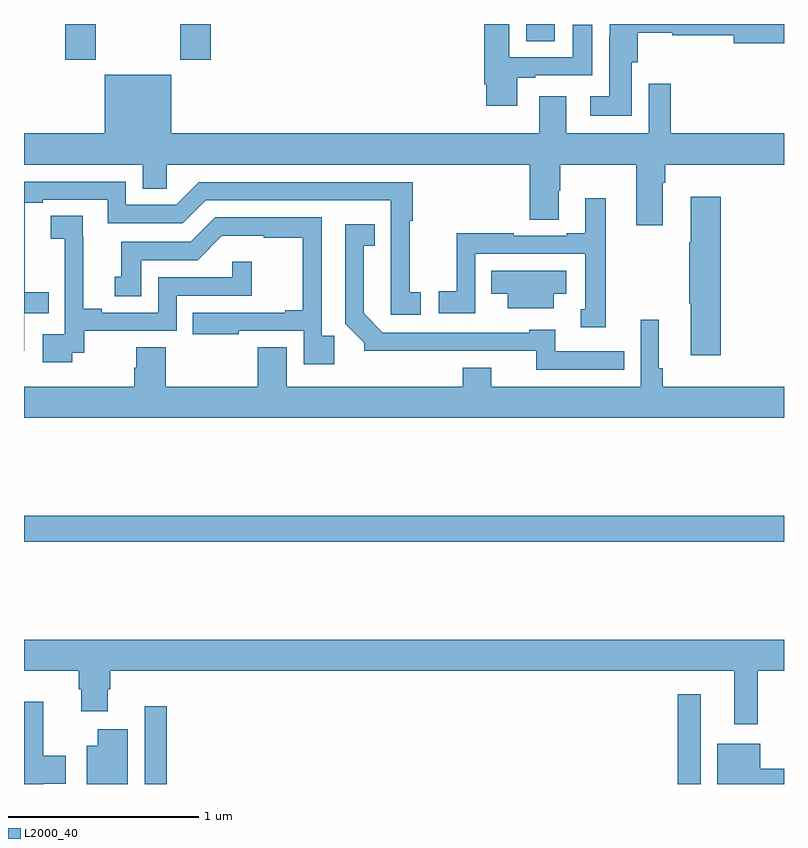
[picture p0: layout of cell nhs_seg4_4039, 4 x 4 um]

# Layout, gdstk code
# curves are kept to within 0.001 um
import gdstk
lib = gdstk.Library(unit=1e-6, precision=1e-09)
def R(c, l, rs):  # rectangles x0, y0, x1, y1
    for r in rs: c.add(gdstk.rectangle(r[:2], r[2:], *l))
def P(c, l, *ps):  # polygons
    for p in ps: c.add(gdstk.Polygon(p, *l))
L2000_40 = (2000, 40)

nhs_seg4_4039 = lib.new_cell('nhs_seg4_4039')
R(nhs_seg4_4039, L2000_40, [(325.635,786.9,325.751,787.309), (328.44,786.9,328.561,787.372), (325,788.176,329,788.312), (325.217,790.713,325.377,790.9), (325.822,790.713,325.982,790.9), (327.644,790.81,327.793,790.9)])
P(nhs_seg4_4039, L2000_40, [(328.198,790.698),(328.229,790.698),(328.229,790.855),(328.412,790.855),(328.412,790.84),(328.736,790.84),(328.736,790.798),(329,790.798),(329,790.9),(328.083,790.9),(328.083,790.838),(328.079,790.838),(328.079,790.519),(327.981,790.519),(327.981,790.418),(328.198,790.418)],
  [(327.595,790.617),(327.691,790.617),(327.691,790.629),(327.991,790.629),(327.991,790.897),(327.887,790.897),(327.887,790.725),(327.553,790.725),(327.553,790.9),(327.422,790.9),(327.422,790.582),(327.434,790.582),(327.434,790.47),(327.595,790.47)],
  [(328.363,790.064),(328.376,790.064),(328.376,790.16),(329,790.16),(329,790.324),(328.403,790.324),(328.403,790.585),(328.287,790.585),(328.287,790.324),(327.853,790.324),(327.853,790.519),(327.713,790.519),(327.713,790.324),(325.774,790.324),(325.774,790.633),(325.424,790.633),(325.424,790.324),(325,790.324),(325,790.16),(325.625,790.16),(325.625,790.033),(325.752,790.033),(325.752,790.16),(327.662,790.16),(327.662,789.871),(327.814,789.871),(327.814,790.022),(327.822,790.022),(327.822,790.16),(328.223,790.16),(328.223,789.84),(328.363,789.84)],
  [(325.002,789.378),(325.13,789.378),(325.13,789.487),(325.003,789.487),(325.003,789.96),(325.099,789.96),(325.099,789.975),(325.44,789.975),(325.44,789.852),(325.836,789.852),(325.956,789.972),(326.931,789.972),(326.93,789.369),(327.088,789.369),(327.088,789.489),(327.03,789.489),(327.03,789.865),(327.047,789.865),(327.047,790.068),(325.92,790.068),(325.8,789.948),(325.536,789.948),(325.536,790.071),(325,790.071),(325,789.18),(325.002,789.18)],
  [(328.667,789.991),(328.508,789.991),(328.508,789.752),(328.501,789.752),(328.501,789.43),(328.508,789.43),(328.508,789.156),(328.667,789.156)],
  [(328.063,789.982),(327.953,789.982),(327.953,789.799),(327.857,789.799),(327.857,789.786),(327.578,789.786),(327.578,789.799),(327.277,789.799),(327.277,789.494),(327.183,789.494),(327.183,789.378),(327.375,789.378),(327.375,789.69),(327.954,789.69),(327.954,789.399),(327.929,789.399),(327.929,789.305),(328.063,789.305)],
  [(325.254,789.171),(325.316,789.171),(325.316,789.285),(325.803,789.285),(325.803,789.471),(326.198,789.471),(326.198,789.649),(326.097,789.649),(326.097,789.567),(325.707,789.567),(325.707,789.381),(325.408,789.381),(325.408,789.401),(325.312,789.401),(325.312,789.779),(325.31,789.779),(325.31,789.89),(325.14,789.89),(325.14,789.769),(325.214,789.769),(325.214,789.571),(325.215,789.571),(325.215,789.267),(325.098,789.267),(325.098,789.12),(325.254,789.12)],
  [(326.633,789.259),(326.568,789.259),(326.568,789.882),(326.007,789.882),(325.878,789.753),(325.511,789.753),(325.511,789.57),(325.478,789.57),(325.478,789.466),(325.618,789.466),(325.618,789.657),(325.914,789.657),(326.042,789.785),(326.261,789.785),(326.261,789.774),(326.467,789.774),(326.467,789.394),(326.375,789.394),(326.375,789.381),(325.888,789.381),(325.888,789.266),(326.131,789.266),(326.131,789.285),(326.472,789.285),(326.472,789.108),(326.633,789.108)],
  [(328.16,789.177),(327.796,789.177),(327.796,789.292),(327.66,789.292),(327.66,789.276),(326.889,789.276),(326.788,789.377),(326.788,789.734),(326.846,789.734),(326.846,789.847),(326.691,789.847),(326.691,789.322),(326.79,789.223),(326.79,789.179),(327.697,789.18),(327.697,789.081),(328.16,789.081)],
  [(327.787,789.479),(327.853,789.479),(327.853,789.601),(327.46,789.601),(327.46,789.479),(327.545,789.479),(327.545,789.404),(327.787,789.404)],
  [(329,788.992),(328.361,788.992),(328.361,789.088),(328.342,789.088),(328.342,789.343),(328.245,789.343),(328.245,788.992),(327.46,788.992),(327.46,789.091),(327.308,789.091),(327.308,788.992),(326.383,788.992),(326.383,789.2),(326.231,789.2),(326.231,788.992),(325.745,788.992),(325.745,789.2),(325.592,789.2),(325.592,789.09),(325.58,789.09),(325.58,788.992),(325,788.992),(325,788.828),(329,788.828)],
  [(328.861,787.496),(329,787.496),(329,787.66),(325,787.66),(325,787.496),(325.289,787.496),(325.289,787.398),(325.301,787.398),(325.301,787.284),(325.441,787.284),(325.441,787.398),(325.454,787.398),(325.454,787.496),(328.739,787.496),(328.739,787.215),(328.861,787.215)],
  [(325.102,786.902),(325.219,786.902),(325.219,787.05),(325.102,787.05),(325.102,787.333),(325,787.333),(325,786.9),(325.102,786.9)],
  [(325.546,787.189),(325.388,787.189),(325.388,787.102),(325.331,787.102),(325.331,786.9),(325.546,786.9)],
  [(329,786.98),(328.876,786.98),(328.876,787.111),(328.649,787.111),(328.649,786.9),(329,786.9)])

lib.write_gds('nhs_seg4_4039.gds')
